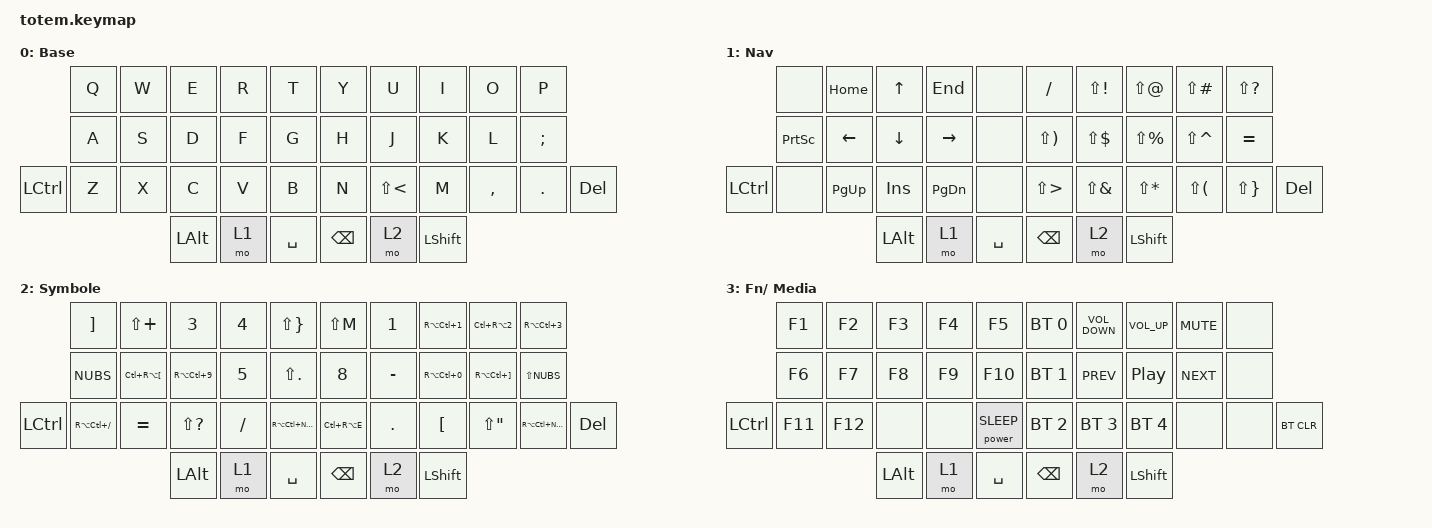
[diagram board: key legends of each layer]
#include <behaviors.dtsi>
#include <dt-bindings/zmk/bt.h>
#include <dt-bindings/zmk/keys.h>

/ {
    combos {
        compatible = "zmk,combos";

        Esc {
            bindings = <&kp ESC>;
            key-positions = <11 10>;
        };

        Tab {
            bindings = <&kp TAB>;
            key-positions = <13 12>;
        };

        Enter {
            bindings = <&kp ENTER>;
            key-positions = <16 17>;
        };

        Windows {
            bindings = <&kp LEFT_WIN>;
            key-positions = <18 19>;
        };

        Bt_Disc0 {
            bindings = <&bt BT_DISC 0>;
            key-positions = <5 20>;
            layers = <3>;
        };

        BT_Disc1 {
            bindings = <&bt BT_DISC 1>;
            key-positions = <20 15>;
            layers = <3>;
        };

        BT_Disc2 {
            bindings = <&bt BT_DISC 2>;
            key-positions = <20 26>;
            layers = <3>;
        };

        BT_Disc3 {
            bindings = <&bt BT_DISC 3>;
            key-positions = <20 27>;
            layers = <3>;
        };

        BT_Disc4 {
            bindings = <&bt BT_DISC 4>;
            key-positions = <20 28>;
            layers = <3>;
        };
    };

    keymap {
        compatible = "zmk,keymap";

        base_layer {
            bindings = <
           &kp Q  &kp W  &kp E     &kp R  &kp T        &kp Y     &kp U       &kp I      &kp O      &kp P
           &kp A  &kp S  &kp D     &kp F  &kp G        &kp H     &kp J       &kp K      &kp L      &kp SEMI
&kp LCTRL  &kp Z  &kp X  &kp C     &kp V  &kp B        &kp N     &kp LS(LT)  &kp M      &kp COMMA  &kp DOT   &kp DEL
                         &kp LALT  &mo 1  &kp SPACE    &kp BSPC  &mo 2       &kp LSHFT
            >;

            label = "Base";
        };

        nav_layer {
            bindings = <
           &none            &kp HOME   &kp UP    &kp END    &none        &kp FSLH      &kp LS(EXCL)  &kp LS(AT)     &kp LS(POUND)  &kp LS(QMARK)
           &kp PRINTSCREEN  &kp LEFT   &kp DOWN  &kp RIGHT  &none        &kp LS(RPAR)  &kp LS(DLLR)  &kp LS(PRCNT)  &kp LS(CARET)  &kp EQUAL
&kp LCTRL  &none            &kp PG_UP  &kp INS   &kp PG_DN  &none        &kp LS(GT)    &kp LS(AMPS)  &kp LS(STAR)   &kp LS(LPAR)   &kp LS(RBRC)   &kp DEL
                                       &kp LALT  &mo 1      &kp SPACE    &kp BSPC      &mo 2         &kp LSHFT
            >;

            label = "Nav";
        };

        symb_layer {
            bindings = <
           &kp RBKT           &kp LS(PLUS)              &kp N3          &kp N4    &kp LS(RBRC)        &kp LS(M)      &kp N1     &kp RA(LC(N1))    &kp LC(RA(N2))             &kp RA(LC(N3))
           &kp NUBS           &kp LC(RA(LEFT_BRACKET))  &kp RA(LC(N9))  &kp N5    &kp LS(DOT)         &kp N8         &kp MINUS  &kp RA(LC(N0))    &kp RA(LC(RIGHT_BRACKET))  &kp LS(NUBS)
&kp LCTRL  &kp RA(LC(SLASH))  &kp EQUAL                 &kp LS(QMARK)   &kp FSLH  &kp RA(LC(NUBS))    &kp LC(RA(E))  &kp DOT    &kp LEFT_BRACKET  &kp LS(DQT)                &kp RA(LC(NUHS))  &kp DEL
                                                        &kp LALT        &mo 1     &kp SPACE           &kp BSPC       &mo 2      &kp LSHFT
            >;

            label = "Symbole";
        };

        fn_layer {
            bindings = <
           &kp F1   &kp F2   &kp F3    &kp F4  &kp F5         &bt BT_SEL 0  &kp C_VOLUME_DOWN  &kp C_VOLUME_UP   &kp K_MUTE  &none
           &kp F6   &kp F7   &kp F8    &kp F9  &kp F10        &bt BT_SEL 1  &kp C_PREV         &kp C_PLAY_PAUSE  &kp C_NEXT  &none
&kp LCTRL  &kp F11  &kp F12  &none     &none   &power SLEEP   &bt BT_SEL 2  &bt BT_SEL 3       &bt BT_SEL 4      &none       &none  &bt BT_CLR
                             &kp LALT  &mo 1   &kp SPACE      &kp BSPC      &mo 2              &kp LSHFT
            >;

            label = "Fn/ Media";
        };
    };

    conditional_layers {
        compatible = "zmk,conditional-layers";

        Layer_FN {
            if-layers = <1 2>;
            then-layer = <3>;
        };
    };
};
